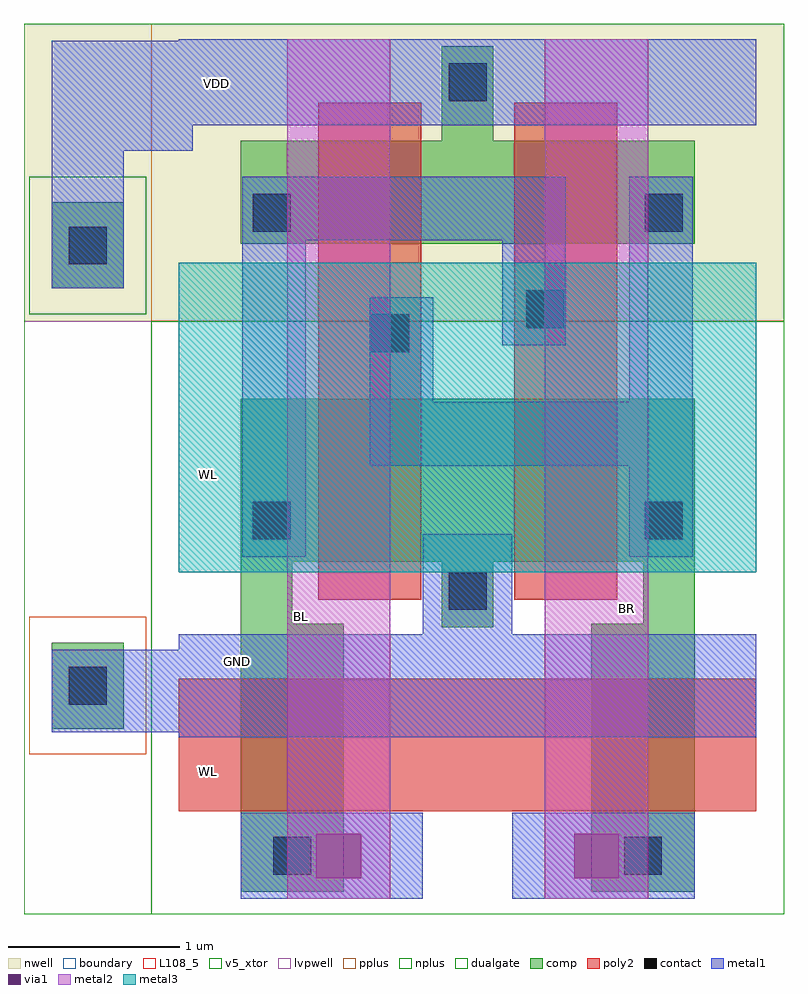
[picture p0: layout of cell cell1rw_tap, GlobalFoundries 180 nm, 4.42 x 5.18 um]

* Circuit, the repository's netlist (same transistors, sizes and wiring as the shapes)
* NGSPICE file created from cell1rw_tap.ext - technology: gf180mcuC
*
* Well-tapped variant of the 1RW bitcell.  The only layout difference from
* cell1rw is the pair of body taps in the left overhang; electrically the
* device bodies are already tied to VDD/GND here, so the netlist is the same
* five-pin view.
.subckt cell1rw_tap BL BR WL VDD GND
X0 GND a_63_149# a_18_103# GND nfet_05v0 ad=0.627p pd=3.74u as=0.7275p ps=4.76u w=0.95u l=0.6u
X1 a_18_103# WL BL GND nfet_05v0 ad=0p pd=0u as=0.282p ps=2.14u w=0.6u l=0.77u
X2 a_63_149# a_18_103# VDD VDD pfet_05v0 ad=0.27p pd=2.1u as=0.489p ps=3.38u w=0.6u l=0.6u
X3 a_63_149# WL BR GND nfet_05v0 ad=0.7275p pd=4.76u as=0.282p ps=2.14u w=0.6u l=0.77u
X4 VDD a_63_149# a_18_103# VDD pfet_05v0 ad=0p pd=0u as=0.27p ps=2.1u w=0.6u l=0.6u
X5 a_63_149# a_18_103# GND GND nfet_05v0 ad=0p pd=0u as=0p ps=0u w=0.95u l=0.6u
.ends

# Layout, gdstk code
import gdstk
lib = gdstk.Library(unit=1e-6, precision=1e-09)
def R(c, l, rs):  # rectangles x0, y0, x1, y1
    for r in rs: c.add(gdstk.rectangle(r[:2], r[2:], *l))
def P(c, l, *ps):  # polygons
    for p in ps: c.add(gdstk.Polygon(p, *l))
boundary = (0, 0)
nwell = (21, 0)
comp = (22, 0)
poly2 = (30, 0)
pplus = (31, 0)
nplus = (32, 0)
contact = (33, 0)
metal1 = (34, 0)
via1 = (35, 0)
metal2 = (36, 0)
metal3 = (42, 0)
dualgate = (55, 0)
L108_5 = (108, 5)
v5_xtor = (112, 1)
lvpwell = (204, 0)

cell1rw_tap = lib.new_cell('cell1rw_tap')
R(cell1rw_tap, boundary, [(-0.34,-0.34,3.34,4.84), (0,0,3,4.5)])
R(cell1rw_tap, nwell, [(-1.08,3.11,3.34,4.84)])
R(cell1rw_tap, comp, [(-0.92,0.74,-0.5,1.24), (-0.92,3.3,-0.5,3.8)])
P(cell1rw_tap, comp, [(0.18,-0.21),(0.18,2.66),(2.82,2.66),(2.82,-0.21),(2.22,-0.21),(2.22,1.35),(2.52,1.35),(2.52,1.71),(1.65,1.71),(1.65,1.33),(1.35,1.33),(1.35,1.71),(0.48,1.71),(0.48,1.35),(0.78,1.35),(0.78,-0.21)],
  [(0.18,3.56),(0.18,4.16),(1.35,4.16),(1.35,4.71),(1.65,4.71),(1.65,4.16),(2.82,4.16),(2.82,3.56)])
R(cell1rw_tap, poly2, [(-0.18,0.26,3.18,1.03), (0.63,1.49,1.23,4.38), (1.77,1.49,2.37,4.38)])
R(cell1rw_tap, pplus, [(-1.05,0.59,-0.37,1.39), (-0.34,3.11,3.34,4.84)])
R(cell1rw_tap, nplus, [(-0.34,-0.34,3.34,3.11), (-1.05,3.15,-0.37,3.95)])
R(cell1rw_tap, contact, [(0.37,-0.11,0.59,0.11), (2.41,-0.11,2.63,0.11), (-0.82,0.88,-0.6,1.1), (1.39,1.43,1.61,1.65), (0.25,1.84,0.47,2.06), (2.53,1.84,2.75,2.06), (0.94,2.93,1.16,3.15), (1.84,3.07,2.06,3.29), (-0.82,3.44,-0.6,3.66), (0.25,3.63,0.47,3.85), (2.53,3.63,2.75,3.85), (1.39,4.39,1.61,4.61)])
R(cell1rw_tap, metal1, [(0.18,-0.25,1.24,0.25), (1.76,-0.25,2.82,0.25), (-0.92,0.72,-0.1,1.2), (0.1,1.02,0.24,1.24), (-0.92,3.3,-0.5,4.4), (-0.92,4.1,-0.1,4.74), (-0.18,4.25,3.18,4.75)])
P(cell1rw_tap, metal1, [(0.19,1.74),(0.19,3.95),(2.07,3.95),(2.07,2.97),(1.7,2.97),(1.7,3.58),(0.56,3.58),(0.56,1.74)],
  [(2.44,1.74),(2.44,2.27),(0.93,2.27),(0.93,3.25),(1.3,3.25),(1.3,2.64),(2.44,2.64),(2.44,3.95),(2.81,3.95),(2.81,1.74)],
  [(-0.18,0.69),(-0.18,1.29),(1.24,1.29),(1.24,1.87),(1.76,1.87),(1.76,1.29),(3.18,1.29),(3.18,0.69)])
R(cell1rw_tap, via1, [(0.62,-0.13,0.88,0.13), (2.12,-0.13,2.38,0.13)])
R(cell1rw_tap, metal2, [(0.45,-0.25,1.05,4.75), (1.95,-0.25,2.55,4.75)])
R(cell1rw_tap, metal3, [(-0.18,1.65,3.18,3.45)])
R(cell1rw_tap, dualgate, [(-1.08,-0.34,3.34,4.84)])
R(cell1rw_tap, L108_5, [(-0.34,-0.34,3.34,4.84)])
R(cell1rw_tap, v5_xtor, [(-0.34,-0.34,3.34,4.84)])
R(cell1rw_tap, lvpwell, [(-1.08,-0.34,3.34,3.11)])
cell1rw_tap.add(gdstk.Label('VDD', (0.041,4.491), layer=34, texttype=0))
cell1rw_tap.add(gdstk.Label('BL', (0.531,1.395), layer=36, texttype=0))
cell1rw_tap.add(gdstk.Label('BR', (2.426,1.438), layer=36, texttype=0))
cell1rw_tap.add(gdstk.Label('WL', (-0.009,2.216), layer=42, texttype=0))
cell1rw_tap.add(gdstk.Label('GND', (0.163,1.13), layer=34, texttype=0))
cell1rw_tap.add(gdstk.Label('WL', (-0.005,0.492), layer=30, texttype=0))

lib.write_gds('cell1rw_tap.gds')
